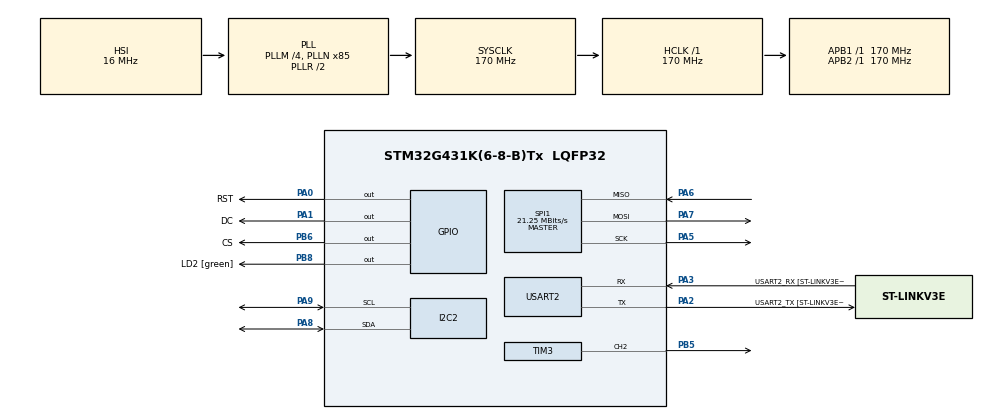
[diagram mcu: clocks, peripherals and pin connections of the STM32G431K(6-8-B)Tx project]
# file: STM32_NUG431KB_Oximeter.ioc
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I2C2.Timing=0x40B285C2
Mcu.Family=STM32G4
Mcu.Name=STM32G431K(6-8-B)Tx
Mcu.Package=LQFP32
NVIC.PriorityGroup=NVIC_PRIORITYGROUP_4
PA0.GPIO_Label=RST
PA0.Signal=GPIO_Output
PA1.GPIO_Label=DC
PA1.Signal=GPIO_Output
PA13.GPIO_Label=T_SWDIO
PA13.Mode=Trace_Asynchronous_SW
PA13.Signal=SYS_JTMS-SWDIO
PA14.GPIO_Label=T_SWCLK
PA14.Mode=Trace_Asynchronous_SW
PA14.Signal=SYS_JTCK-SWCLK
PA15.Signal=I2C1_SCL
PA2.GPIO_Label=USART2_TX [ST-LINKV3E_VCP_RX]
PA2.Mode=Asynchronous
PA2.Signal=USART2_TX
PA3.GPIO_Label=USART2_RX [ST-LINKV3E_VCP_TX]
PA3.Mode=Asynchronous
PA3.Signal=USART2_RX
PA5.Mode=Full_Duplex_Master
PA5.Signal=SPI1_SCK
PA6.Mode=Full_Duplex_Master
PA6.Signal=SPI1_MISO
PA7.Mode=Full_Duplex_Master
PA7.Signal=SPI1_MOSI
PA8.Mode=I2C
PA8.Signal=I2C2_SDA
PA9.Mode=I2C
PA9.Signal=I2C2_SCL
PB3.GPIO_Label=T_SWO
PB3.Mode=Trace_Asynchronous_SW
PB3.Signal=SYS_JTDO-SWO
PB5.Signal=S_TIM3_CH2
PB6.GPIO_Label=CS
PB6.Signal=GPIO_Output
PB7.Signal=I2C1_SDA
PB8-BOOT0.GPIO_Label=LD2 [green]
PB8-BOOT0.Signal=GPIO_Output
PF0-OSC_IN.Mode=HSE-External-Oscillator
PF0-OSC_IN.Signal=RCC_OSC_IN
PF1-OSC_OUT.Mode=HSE-External-Oscillator
PF1-OSC_OUT.Signal=RCC_OSC_OUT
ProjectManager.HeapSize=0x200
ProjectManager.StackSize=0x400
ProjectManager.TargetToolchain=STM32CubeIDE
RCC.ADC12Freq_Value=170000000
RCC.AHBFreq_Value=170000000
RCC.APB1Freq_Value=170000000
RCC.APB1TimFreq_Value=170000000
RCC.APB2Freq_Value=170000000
RCC.APB2TimFreq_Value=170000000
RCC.CortexFreq_Value=170000000
RCC.EXTERNAL_CLOCK_VALUE=12288000
RCC.HCLKFreq_Value=170000000
RCC.HSE_VALUE=8000000
RCC.HSI48_VALUE=48000000
RCC.HSI_VALUE=16000000
RCC.LSE_VALUE=32768
RCC.PLLM=RCC_PLLM_DIV4
RCC.PLLN=85
RCC.SYSCLKFreq_VALUE=170000000
RCC.SYSCLKSource=RCC_SYSCLKSOURCE_PLLCLK
RCC.USBFreq_Value=170000000
RCC.VCOOutputFreq_Value=340000000
SH.S_TIM3_CH2.0=TIM3_CH2,PWM Generation2 CH2
SPI1.BaudRatePrescaler=SPI_BAUDRATEPRESCALER_8
SPI1.CalculateBaudRate=21.25 MBits/s
SPI1.DataSize=SPI_DATASIZE_8BIT
SPI1.Direction=SPI_DIRECTION_2LINES
SPI1.Mode=SPI_MODE_MASTER
SPI1.VirtualType=VM_MASTER
TIM3.Channel-PWM\ Generation2\ CH2=TIM_CHANNEL_2
USART2.VirtualMode-Asynchronous=VM_ASYNC
USART2.WordLength=WORDLENGTH_8B
VP_SYS_VS_DBSignals.Mode=DisableDeadBatterySignals
board=NUCLEO-G431KB

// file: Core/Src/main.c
/* USER CODE BEGIN Header */
/**
  ******************************************************************************
  * @file           : main.c
  * @brief          : Main program body
  ******************************************************************************
  * @attention
  *
  * Copyright (c) 2024 STMicroelectronics.
  * All rights reserved.
  *
  * This software is licensed under terms that can be found in the LICENSE file
  * in the root directory of this software component.
  * If no LICENSE file comes with this software, it is provided AS-IS.
  *
  ******************************************************************************
  */
/* USER CODE END Header */
#include "main.h"
#include "i2c.h"
#include "spi.h"
#include "tim.h"
#include "usart.h"
#include "gpio.h"

/* USER CODE BEGIN Includes */

// Libs for LCD IPS 1.47"
#include "GUI_Paint.h"
#include "fonts.h"
#include "image.h"
#include "LCD_Test.h"
#include "DEV_Config.h"
#include "LCD_1in47.h"

// Pulse oximeter MAX30102 library
//#include "MAX30102_Oximeter.h"

/* USER CODE END Includes */

/* USER CODE BEGIN PD */
#define MAX30102_I2C_ADDRESS    0x57

/* USER CODE END PD */

/* USER CODE BEGIN PV */
// Read Buffer for oximeter MAX30102
uint8_t rbuf[6];

uint8_t spo2 = 				0; // Oxygen saturation level in red blood cells
uint32_t heartbeat = 		0; // Heart beats per minute

/* USER CODE END PV */

void SystemClock_Config(void);
/* USER CODE BEGIN PFP */
void SystemClock_Config(void);
void MAX30102_Init(void);
void MAX30102_StartCollect(void);
void MAX30102_GetHeartbeatSPO2(uint8_t *spo2, uint32_t *heartbeat);
float MAX30102_GetTemperature(void);

/* USER CODE END PFP */

/* USER CODE BEGIN 0 */

// Initialize LCD IPS 1.47"
void initLCD()
{
	LCD_1IN47_SetBackLight(1000); // Not sure if we need it but of. docs has it
	LCD_1IN47_Init(VERTICAL);
	LCD_1IN47_Clear(WHITE);

	// Set screen perspective as VERTICAL
	Paint_NewImage(LCD_1IN47_HEIGHT,LCD_1IN47_WIDTH, ROTATE_90, WHITE);
	// Set screen cleaner function for LCD
	Paint_SetClearFuntion(LCD_1IN47_Clear);
	// Set pointer to draw (it helps to draw automatically)
	Paint_SetDisplayFuntion(LCD_1IN47_DrawPoint);
}

/* USER CODE END 0 */

int main(void)
{

  /* MCU Configuration--------------------------------------------------------*/

  /* Reset of all peripherals, Initializes the Flash interface and the Systick. */
  HAL_Init();

  /* Configure the system clock */
  SystemClock_Config();

  /* Initialize all configured peripherals */
  MX_GPIO_Init();
  MX_USART2_UART_Init();
  MX_SPI1_Init();
  MX_TIM3_Init();
  MX_I2C2_Init();
  /* USER CODE BEGIN 2 */
  initLCD();

  /* IIC MAX30102 Polling Method */
//  if(MAX30102_CheckConnection() == OXIMETER_OK)
//  {
//	  MAX30102_ResetSensor();
//
//	  MAX30102_LEDConfig();
//
//	  MAX30102_SetSpO2Mode();
//
//	  MAX30102_SlotCofig();
//
//	  MAX30102_ResetFIFOPointers();
//
//	  MAX30102_DataCollectTurnOn();
//  }

  uint8_t mode_reset = 0x40; // Reset bit
  HAL_I2C_Mem_Write(&hi2c2, MAX30102_I2C_ADDRESS << 1, 0x09, I2C_MEMADD_SIZE_8BIT, &mode_reset, 1, HAL_MAX_DELAY);
  HAL_Delay(100); // Wait for reset

  // Clear the reset bit
  uint8_t mode_config = 0x03; // Set to SpO2 mode
  HAL_I2C_Mem_Write(&hi2c2, MAX30102_I2C_ADDRESS << 1, 0x09, I2C_MEMADD_SIZE_8BIT, &mode_config, 1, HAL_MAX_DELAY);

  // Configure LED current (max for both LEDs)
  uint8_t led1_pa = 0x7F; // Red LED current
  uint8_t led2_pa = 0x7F; // IR LED current
  HAL_I2C_Mem_Write(&hi2c2, MAX30102_I2C_ADDRESS << 1, 0x0C, I2C_MEMADD_SIZE_8BIT, &led1_pa, 1, HAL_MAX_DELAY);
  HAL_I2C_Mem_Write(&hi2c2, MAX30102_I2C_ADDRESS << 1, 0x0D, I2C_MEMADD_SIZE_8BIT, &led2_pa, 1, HAL_MAX_DELAY);

  // Set SpO2 configuration (ADC range, sample rate, pulse width)
  uint8_t spo2_config = 0x27; // 0x27 sets sample rate to 100 Hz, pulse width to 411us
  HAL_I2C_Mem_Write(&hi2c2, MAX30102_I2C_ADDRESS << 1, 0x0A, I2C_MEMADD_SIZE_8BIT, &spo2_config, 1, HAL_MAX_DELAY);

  // Enable slots (Slot 1: Red, Slot 2: IR)
  uint8_t slot_config = 0x21; // Slot 1 for Red, Slot 2 for IR
  HAL_I2C_Mem_Write(&hi2c2, MAX30102_I2C_ADDRESS << 1, 0x11, I2C_MEMADD_SIZE_8BIT, &slot_config, 1, HAL_MAX_DELAY);

  // Reset FIFO pointers
  uint8_t fifo_config = 0x00;
  HAL_I2C_Mem_Write(&hi2c2, MAX30102_I2C_ADDRESS << 1, 0x04, I2C_MEMADD_SIZE_8BIT, &fifo_config, 1, HAL_MAX_DELAY); // FIFO Write Pointer
  HAL_I2C_Mem_Write(&hi2c2, MAX30102_I2C_ADDRESS << 1, 0x05, I2C_MEMADD_SIZE_8BIT, &fifo_config, 1, HAL_MAX_DELAY); // FIFO Overflow Counter
  HAL_I2C_Mem_Write(&hi2c2, MAX30102_I2C_ADDRESS << 1, 0x06, I2C_MEMADD_SIZE_8BIT, &fifo_config, 1, HAL_MAX_DELAY); // FIFO Read Pointer

  uint8_t start_collect[2] =  {0x00, 0x01}; // Command to start data collection
  HAL_I2C_Mem_Write(&hi2c2, MAX30102_I2C_ADDRESS << 1, 0x20, I2C_MEMADD_SIZE_8BIT, (uint8_t*)&start_collect, 2, HAL_MAX_DELAY);

  void MAX30102_GetHeartbeatSPO2(uint8_t *spo2, uint32_t *heartbeat)
  {
	  uint8_t rbuf[8]; // Buffer to store the read data

	  // Read from the register where SPO2 and Heartbeat data are stored
	  HAL_I2C_Mem_Read(&hi2c2, MAX30102_I2C_ADDRESS << 1, 0x0C, I2C_MEMADD_SIZE_8BIT, rbuf, 8, HAL_MAX_DELAY);

	  // Extract SPO2 and Heartbeat data
	  *spo2 = rbuf[0]; // SPO2 level
	  *heartbeat = (rbuf[2] << 24) | (rbuf[3] << 16) | (rbuf[4] << 8) | rbuf[5]; // Heartbeat rate
  }

  float MAX30102_GetTemperature(void)
  {
	  uint8_t temp_buf[2];
	  HAL_I2C_Mem_Read(&hi2c2, MAX30102_I2C_ADDRESS << 1, 0x14, I2C_MEMADD_SIZE_8BIT, temp_buf, 2, HAL_MAX_DELAY);

	  // Convert the temperature data
	  float temperature = temp_buf[0] + temp_buf[1] / 100.0;
	  return temperature;
  }

  /* USER CODE END 2 */

  /* Infinite loop */
  /* USER CODE BEGIN WHILE */
  while (1)
  {
	  /* Get SPO2 and Heartbeat values */
	  MAX30102_GetHeartbeatSPO2(&spo2, &heartbeat);

	  /* Prepare text for SPO2 and Heartbeat values */
	  char spo2Text[50];
	  sprintf(spo2Text, "SPO2: %d%%", spo2);\
	  Paint_DrawString_EN(0, 70, spo2Text, &Font16, BLACK, WHITE); // Display SPO2 on the screen

	  char heartbeatText[50];
	  sprintf(heartbeatText, "bpm: %lu", heartbeat);
	  Paint_DrawString_EN(0, 120, heartbeatText, &Font16, BLACK, WHITE); // Display Heartbeat on the screen

	  /* Get and format temperature */
	  float temperature = MAX30102_GetTemperature();

	  char temperatureText[50];
	  sprintf(temperatureText, "T: %.2f C", temperature); // Format Temperature string
	  Paint_DrawString_EN(0, 250, temperatureText, &Font16, BLACK, WHITE); // Display Temperature on the screen

	  // Draw text at different coordinates to test the LCD
//	  Paint_DrawString_EN(0, 50, "dwd1", &Font16, BLACK, WHITE);
//
//
//	  Paint_DrawString_EN(125, 20, "dwd2", &Font16, BLACK, WHITE);
//	  Paint_DrawString_EN(0, 30, "dwd3", &Font16, BLACK, WHITE);
//	  Paint_DrawString_EN(65, 80, "dwd4", &Font16, BLACK, WHITE);
//	  Paint_DrawString_EN(70, 120, "dwd5", &Font16, BLACK, WHITE);
//	  Paint_DrawString_EN(70, 140, "dwd6", &Font16, BLACK, WHITE);
//	  Paint_DrawString_EN(70, 170, "dwd7", &Font16, BLACK, WHITE);
//	  Paint_DrawString_EN(70, 190, "dwd8", &Font16, BLACK, WHITE);
//	  Paint_DrawString_EN(70, 200, "dwd9", &Font16, BLACK, WHITE);
//
//	  Paint_DrawString_EN(70, 240, "dwd10", &Font16, BLACK, WHITE);
//	  Paint_DrawString_EN(70, 260, "dwd11", &Font24, BLACK, WHITE);
//	  Paint_DrawString_EN(60, 290, "dwd12", &Font24, BLACK, WHITE);

    /* USER CODE END WHILE */

  }
}

void SystemClock_Config(void)
{
  RCC_OscInitTypeDef RCC_OscInitStruct = {0};
  RCC_ClkInitTypeDef RCC_ClkInitStruct = {0};

  /** Configure the main internal regulator output voltage
  */
  HAL_PWREx_ControlVoltageScaling(PWR_REGULATOR_VOLTAGE_SCALE1_BOOST);

  /** Initializes the RCC Oscillators according to the specified parameters
  * in the RCC_OscInitTypeDef structure.
  */
  RCC_OscInitStruct.OscillatorType = RCC_OSCILLATORTYPE_HSI;
  RCC_OscInitStruct.HSIState = RCC_HSI_ON;
  RCC_OscInitStruct.HSICalibrationValue = RCC_HSICALIBRATION_DEFAULT;
  RCC_OscInitStruct.PLL.PLLState = RCC_PLL_ON;
  RCC_OscInitStruct.PLL.PLLSource = RCC_PLLSOURCE_HSI;
  RCC_OscInitStruct.PLL.PLLM = RCC_PLLM_DIV4;
  RCC_OscInitStruct.PLL.PLLN = 85;
  RCC_OscInitStruct.PLL.PLLP = RCC_PLLP_DIV2;
  RCC_OscInitStruct.PLL.PLLQ = RCC_PLLQ_DIV2;
  RCC_OscInitStruct.PLL.PLLR = RCC_PLLR_DIV2;
  if (HAL_RCC_OscConfig(&RCC_OscInitStruct) != HAL_OK)
  {
    Error_Handler();
  }

  /** Initializes the CPU, AHB and APB buses clocks
  */
  RCC_ClkInitStruct.ClockType = RCC_CLOCKTYPE_HCLK|RCC_CLOCKTYPE_SYSCLK
                              |RCC_CLOCKTYPE_PCLK1|RCC_CLOCKTYPE_PCLK2;
  RCC_ClkInitStruct.SYSCLKSource = RCC_SYSCLKSOURCE_PLLCLK;
  RCC_ClkInitStruct.AHBCLKDivider = RCC_SYSCLK_DIV1;
  RCC_ClkInitStruct.APB1CLKDivider = RCC_HCLK_DIV1;
  RCC_ClkInitStruct.APB2CLKDivider = RCC_HCLK_DIV1;

  if (HAL_RCC_ClockConfig(&RCC_ClkInitStruct, FLASH_LATENCY_4) != HAL_OK)
  {
    Error_Handler();
  }
}

void Error_Handler(void)
{
  __disable_irq();
  while (1)
  {
  }
}
